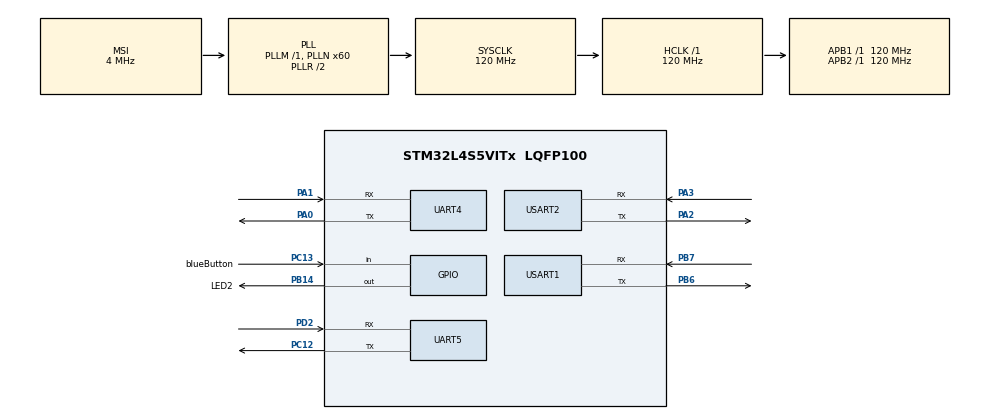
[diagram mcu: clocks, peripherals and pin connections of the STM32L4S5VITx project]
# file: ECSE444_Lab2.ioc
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ADC1.Channel-0\#ChannelRegularConversion=ADC_CHANNEL_VREFINT
ADC1.NbrOfConversionFlag=1
ADC1.OffsetNumber-0\#ChannelRegularConversion=ADC_OFFSET_NONE
ADC1.Rank-0\#ChannelRegularConversion=1
ADC1.SamplingTime-0\#ChannelRegularConversion=ADC_SAMPLETIME_2CYCLES_5
ADC1.master=1
Mcu.Family=STM32L4
Mcu.Name=STM32L4S5VITx
Mcu.Package=LQFP100
NVIC.PriorityGroup=NVIC_PRIORITYGROUP_4
PA0.Mode=Asynchronous
PA0.Signal=UART4_TX
PA1.Mode=Asynchronous
PA1.Signal=UART4_RX
PA2.Mode=Asynchronous
PA2.Signal=USART2_TX
PA3.Mode=Asynchronous
PA3.Signal=USART2_RX
PB14.GPIO_Label=LED2
PB14.Signal=GPIO_Output
PB6.Mode=Asynchronous
PB6.Signal=USART1_TX
PB7.Mode=Asynchronous
PB7.Signal=USART1_RX
PC12.Mode=Asynchronous
PC12.Signal=UART5_TX
PC13.GPIO_Label=blueButton
PC13.Signal=GPIO_Input
PD2.Mode=Asynchronous
PD2.Signal=UART5_RX
ProjectManager.HeapSize=0x200
ProjectManager.StackSize=0x400
ProjectManager.TargetToolchain=STM32CubeIDE
RCC.ADCFreq_Value=32000000
RCC.AHBFreq_Value=120000000
RCC.APB1Freq_Value=120000000
RCC.APB1TimFreq_Value=120000000
RCC.APB2Freq_Value=120000000
RCC.APB2TimFreq_Value=120000000
RCC.CortexFreq_Value=120000000
RCC.HCLKFreq_Value=120000000
RCC.HSE_VALUE=8000000
RCC.HSI48_VALUE=48000000
RCC.HSI_VALUE=16000000
RCC.LSE_VALUE=32768
RCC.MSI_VALUE=4000000
RCC.PLLN=60
RCC.PLLSAI1N=16
RCC.SYSCLKFreq_VALUE=120000000
RCC.SYSCLKSource=RCC_SYSCLKSOURCE_PLLCLK
RCC.USBFreq_Value=32000000
RCC.VCOOutputFreq_Value=240000000
USART1.VirtualMode-Asynchronous=VM_ASYNC
USART2.VirtualMode-Asynchronous=VM_ASYNC
VP_ADC1_TempSens_Input.Mode=IN-TempSens
VP_ADC1_Vref_Input.Mode=IN-Vrefint
board=B-L4S5I-IOT01A

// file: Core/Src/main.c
/* USER CODE BEGIN Header */
/**
  ******************************************************************************
  * @file           : main.c
  * @brief          : Main program body
  ******************************************************************************
  * @attention
  *
  * Copyright (c) 2024 STMicroelectronics.
  * All rights reserved.
  *
  * This software is licensed under terms that can be found in the LICENSE file
  * in the root directory of this software component.
  * If no LICENSE file comes with this software, it is provided AS-IS.
  *
  ******************************************************************************
  */
/* USER CODE END Header */
#include "main.h"

/* USER CODE BEGIN Includes */
#include <string.h>
#include <stdio.h>

/* USER CODE END Includes */

/* USER CODE BEGIN PD */

// Value of VREF+ during production calibration in volts
#define CAL_VREF (3.0)

// Memory address of Internal Voltage Reference (VREFINT) - 0x1FFF 75AA (STM32L4S5 datasheet, Section 3.19.2)
#define VREFINT_CAL_ADDR (uint16_t*)(0x1FFF75AA) // VREFINT calibration value at VREF+ = 3.0 V (STM32L4+ ref manual)

// Temperature sensor memory addresses - found in stm32l476je document, Section 3.15.1 PAGE 42
#define TS_CAL1_ADDR (uint16_t*)(0x1FFF75A8) // Temperature sensor first calibration value at VREF+ = 3.0 V @ 30 degrees
#define TS_CAL2_ADDR (uint16_t*)(0x1FFF75CA) // Temperature sensor second calibration value  at VREF+ = 3.0 V @ 110 degrees
#define TS_CAL1_TEMP (30.0) // TS_CAL1 measurement temperature
#define TS_CAL2_TEMP (110.0) // TS_CAL1 measurement temperature

/* USER CODE END PD */

 ADC_HandleTypeDef hadc1;

UART_HandleTypeDef huart4;
UART_HandleTypeDef huart5;
UART_HandleTypeDef huart1;
UART_HandleTypeDef huart2;

void SystemClock_Config(void);
static void MX_GPIO_Init(void);
static void MX_ADC1_Init(void);
static void MX_USART2_UART_Init(void);
static void MX_USART1_UART_Init(void);
static void MX_UART4_Init(void);
static void MX_UART5_Init(void);
/* USER CODE BEGIN PFP */
#ifdef __GNUC__
#define PUTCHAR_PROTOTYPE int __io_putchar(int ch)
#else
#define PUTCHAR_PROTOTYPE int fputc(int ch, FILE *f)
#endif

PUTCHAR_PROTOTYPE
{
  HAL_UART_Transmit(&huart1, (uint8_t *)&ch, 1, HAL_MAX_DELAY);
  return ch;
}
/* USER CODE END PFP */

/* USER CODE BEGIN 0 */

// Function to start, read, and return ADC conversion
uint16_t readADC(){
	uint16_t ADCdata; // Initialize variable to store ADC conversion data

	// Got functions from 'STM32L4/L4+ HAL and low-layer drivers user manual'
	HAL_ADC_Start(&hadc1); // Activate the ADC peripheral and start conversions
	HAL_ADC_PollForConversion(&hadc1, HAL_MAX_DELAY); // This causes the processor to hang until conversion is over
	ADCdata = HAL_ADC_GetValue(&hadc1); // Retrieve conversion results
	HAL_ADC_Stop(&hadc1); // Stop conversion and disable the ADC peripheral

	return ADCdata; // Returns converted data: 12-bit ADC so range is: 0 -> 2^12 = 4095 (FS Digital Value)
}

// Function that uses macro helper to get VREF from VREFINT ADC measurement
float calibVREFMacro(uint16_t VREFINTdata){
	// From page 102 in UM1884, converts VREFINT value to voltage based on calibration value stored in memory during production
	float VREF = __HAL_ADC_CALC_VREFANALOG_VOLTAGE(VREFINTdata, ADC_RESOLUTION_12B);
	return VREF;
}

// Function that uses macro helper to get TEMP from VREFINT ADC measurement
float calibTEMPMacro(uint16_t VREFINTdata, uint16_t ADCreading){
//_HAL_ADC_CALC_TEMPERATURE()
	float TEMP = __HAL_ADC_CALC_TEMPERATURE(VREFINTdata, ADCreading, ADC_RESOLUTION_12B);
	return TEMP;
}

// Function to reconfigure ADC to measure VREFINT channel
void configVREFINT(){
	ADC_ChannelConfTypeDef sConfig = {0}; // Need to declare sConfig to initialize the rest
	sConfig.Channel = ADC_CHANNEL_VREFINT;
	sConfig.Rank = ADC_REGULAR_RANK_1;
	sConfig.SamplingTime = ADC_SAMPLETIME_640CYCLES_5;
	sConfig.SingleDiff = ADC_SINGLE_ENDED;
	sConfig.OffsetNumber = ADC_OFFSET_NONE;
	sConfig.Offset = 0;
	if (HAL_ADC_ConfigChannel(&hadc1, &sConfig) != HAL_OK)
	{
	  Error_Handler();
	}
}

// Function to reconfigure ADC to measure TEMPSENSOR channel
void configTEMPSENSOR(){
	ADC_ChannelConfTypeDef sConfig = {0}; // Need to declare sConfig to initialize the rest
	sConfig.Channel = ADC_CHANNEL_TEMPSENSOR; // Changed to read TEMPSENSOR channel
	sConfig.Rank = ADC_REGULAR_RANK_1;
	sConfig.SamplingTime = ADC_SAMPLETIME_640CYCLES_5;
	sConfig.SingleDiff = ADC_SINGLE_ENDED;
	sConfig.OffsetNumber = ADC_OFFSET_NONE;
	sConfig.Offset = 0;
	if (HAL_ADC_ConfigChannel(&hadc1, &sConfig) != HAL_OK)
	{
	  Error_Handler();
	}
}

/* USER CODE END 0 */

int main(void)
{

  /* MCU Configuration--------------------------------------------------------*/

  /* Reset of all peripherals, Initializes the Flash interface and the Systick. */
  HAL_Init();

  /* Configure the system clock */
  SystemClock_Config();

  /* Initialize all configured peripherals */
  MX_GPIO_Init();
  MX_ADC1_Init();
  MX_USART2_UART_Init();
  MX_USART1_UART_Init();
  MX_UART4_Init();
  MX_UART5_Init();
  /* USER CODE BEGIN 2 */

  char buttonStatus = 0;

  uint16_t VREFINTdata = 0;
  uint16_t TEMPdata = 0;
  float VREF = 0; // VREF, defined as VREF+ in the texts, is the conversion voltage range for the ADC
  float VREFmacro = 0;
  float VREFINT_V = 0;
  float VREFINT_CAL_V = 0;

  float TEMPdata_adjusted = 0;
  float TEMP_C;
  float TEMP_Cmacro = 0;

  // VREFINT CALIBRATION
  uint16_t VREFINT_CAL = *VREFINT_CAL_ADDR; // VREFINT_CAL holds VREFINT calibration value

  uint16_t TS_CAL1 = *TS_CAL1_ADDR;
  uint16_t TS_CAL2 = *TS_CAL2_ADDR;

  // Using steps from PAGE 71 from UM1884 HAL User Manual as a guide
  // Optionally, perform an automatic ADC calibration to improve the conversion accuracy using function
  HAL_ADCEx_Calibration_Start(&hadc1, ADC_SINGLE_ENDED); // PAGE 113, UM1884, Calibration prerequisite: ADC must be disabled (execute this function before HAL_ADC_Start() or after HAL_ADC_Stop() ).

  // Getting VREF so that we can use temperature sensor
  configVREFINT(); // Configure ADC for VREFINT measurement
  VREFINTdata = readADC(); // VREFINT measurement in bits
  VREFmacro = calibVREFMacro(VREFINTdata); // Using macro helper on Page 102 from UM1884, in mV

  // For UART printing
  char buffer[100] = {0};
  int data;

  /* USER CODE END 2 */

  /* Infinite loop */
  while (1)
  {

    /* USER CODE BEGIN 3 */

	  /*---------------------------------STEP 5-------------------------------------*/

	  //uint8_t data[] = "HELLO WORLD \r\n";
	  // HAL_UART_Transmit (&huart1, data, sizeof (data), 10);

	  //Code to toggle LED2 output based on blue button state - TESTED, WORKS
	  //Get button state
	  buttonStatus = HAL_GPIO_ReadPin(blueButton_GPIO_Port, blueButton_Pin);

	  //toggle LED2 output based on state of the blue button - button is active low
	  if(buttonStatus == 1){
		  HAL_GPIO_WritePin(LED2_GPIO_Port, LED2_Pin, GPIO_PIN_SET);

		  // ADC - Internal Reference Voltage Measurement
		  configVREFINT(); // Configure ADC for VREFINT measurement
		  VREFINT_CAL_V = (((float)VREFINT_CAL)*3.0)/4095; // VREFINT CALIBRATION VALUE in volts, Full scale digital value = 4095, Page 692 of RM0432
		  VREFINTdata = readADC(); // VREFINT measurement in bits

		  // FOUND VREF IN TWO WAYS -> equation and macro helper
		  VREF = (float)CAL_VREF * ((float)VREFINT_CAL/ (float)VREFINTdata); // VREF using equation on PAGE 691 in RM0432
		  VREFmacro = calibVREFMacro(VREFINTdata); // Using macro helper on Page 102 from UM1884
		  VREFmacro = VREFmacro/1000;

		  VREFINT_V = VREF * ((float)VREFINTdata/4095); // VREFINT in volts - VREFINT is within range: MIN-1.182, TYP-1.212, MAX-1.232

		  data = sprintf(buffer, "VREFINT: %f V\r\n", VREFINT_V);
		  HAL_UART_Transmit (&huart1, buffer, data, 100);

		  //HAL_Delay(1000);

	  }
	  else{
		  HAL_GPIO_WritePin(LED2_GPIO_Port, LED2_Pin, GPIO_PIN_RESET);

		  // Getting VREF so that we can use temperature sensor
		  configVREFINT(); // Configure ADC for VREFINT measurement
		  VREFINTdata = readADC(); // VREFINT measurement in bits
		  VREFmacro = calibVREFMacro(VREFINTdata); // Using macro helper on Page 102 from UM1884, in mV

		  configTEMPSENSOR(); // reconfiguring works
		  TEMPdata = readADC(); // TEMPSENSOR measurement in bits

		  // Got temperature in two ways: macro helper and equation
		  TEMP_Cmacro = calibTEMPMacro(VREFmacro, TEMPdata); // Calculating temperature using macro - PAGE 103, UM1884 - THIS WORKS

		  TEMPdata_adjusted = (float)TEMPdata * ((float)VREFINT_CAL/ (float)VREFINTdata);

		  // RM0432 says program with appropriate sampling time - need to check this

		  // Conversion to celcius is done with equation on PAGE 689 on RM0432
		  // Calibration values are at 3.15.1 on PAGE 41 on stm32l476je functional overview document

		  float gradient = ((float)TS_CAL2_TEMP - (float)TS_CAL1_TEMP)/((float)TS_CAL2 - (float)TS_CAL1);
		  float gain = (TEMPdata_adjusted - (float)TS_CAL1);

		  // Equation (PAGE 680 on RM0432) works, value matches up with the value from macro helper
		  TEMP_C = (uint16_t)(gradient*gain + 30.0);

		  data = sprintf(buffer, "TEMP: %f degrees celcius\r\n", TEMP_C);
		  HAL_UART_Transmit (&huart1, buffer, data, 100);

		  //HAL_Delay(1000);

	  }

	  /*---------------------------------STEP 2-------------------------------------*/
	  /*
	  // ADC - Internal Reference Voltage Measurement
	  configVREFINT(); // Configure ADC for VREFINT measurement
	  VREFINT_CAL_V = (((float)VREFINT_CAL)*3.0)/4095; // VREFINT CALIBRATION VALUE in volts, Full scale digital value = 4095, Page 692 of RM0432
	  VREFINTdata = readADC(); // VREFINT measurement in bits

	  // FOUND VREF IN TWO WAYS -> equation and macro helper
	  VREF = (float)CAL_VREF * ((float)VREFINT_CAL/ (float)VREFINTdata); // VREF using equation on PAGE 691 in RM0432
	  VREF2 = calibVREFMacro(VREFINTdata); // Using macro helper on Page 102 from UM1884

	  VREFINT_V = VREF * ((float)VREFINTdata/4095); // VREFINT in volts - VREFINT is within range: MIN-1.182, TYP-1.212, MAX-1.232
	  */
	  /*---------------------------------STEP 3-------------------------------------*/

	  // Section 21.4.32, PAGE 688 RM0432
	  // Temperature sensor output voltage changes linearly with temperature
	  // Offset of the line varies from chip to chip so needs to be calibrated based on saved calibration values in memory
	  // This needs to be done in cases where absolute temperature is needed

	  /*
	  configTEMPSENSOR(); // reconfiguring works
	  TEMPdata = readADC(); // TEMPSENSOR measurement in bits

	  // Got temperature in two ways: macro helper and equation

	  VREF_mV = VREF * 1000;

	  TEMP_C2 = calibTEMPMacro(VREF_mV, TEMPdata); // Calculating temperature using macro - PAGE 103, UM1884 - THIS WORKS

	  TEMPdata_C = (float)TEMPdata * ((float)VREFINT_CAL/ (float)VREFINTdata);

	  // RM0432 says program with appropriate sampling time - need to check this

	  // Conversion to celcius is done with equation on PAGE 689 on RM0432
	  // Calibration values are at 3.15.1 on PAGE 41 on stm32l476je functional overview document

	  // Equation doesn't give correct temperature - increased offset to give the right value (not sure if we can do this though lol)

	  TEMP_C = (uint16_t)(((((float)TS_CAL2_TEMP - (float)TS_CAL1_TEMP)/((float)TS_CAL2 - (float)TS_CAL1)) * (TEMPdata - (float)TS_CAL1)) + 30.0 + 17);
	  */
  }
  /* USER CODE END 3 */
}

void SystemClock_Config(void)
{
  RCC_OscInitTypeDef RCC_OscInitStruct = {0};
  RCC_ClkInitTypeDef RCC_ClkInitStruct = {0};

  /** Configure the main internal regulator output voltage
  */
  if (HAL_PWREx_ControlVoltageScaling(PWR_REGULATOR_VOLTAGE_SCALE1_BOOST) != HAL_OK)
  {
    Error_Handler();
  }

  /** Initializes the RCC Oscillators according to the specified parameters
  * in the RCC_OscInitTypeDef structure.
  */
  RCC_OscInitStruct.OscillatorType = RCC_OSCILLATORTYPE_MSI;
  RCC_OscInitStruct.MSIState = RCC_MSI_ON;
  RCC_OscInitStruct.MSICalibrationValue = 0;
  RCC_OscInitStruct.MSIClockRange = RCC_MSIRANGE_6;
  RCC_OscInitStruct.PLL.PLLState = RCC_PLL_ON;
  RCC_OscInitStruct.PLL.PLLSource = RCC_PLLSOURCE_MSI;
  RCC_OscInitStruct.PLL.PLLM = 1;
  RCC_OscInitStruct.PLL.PLLN = 60;
  RCC_OscInitStruct.PLL.PLLP = RCC_PLLP_DIV2;
  RCC_OscInitStruct.PLL.PLLQ = RCC_PLLQ_DIV2;
  RCC_OscInitStruct.PLL.PLLR = RCC_PLLR_DIV2;
  if (HAL_RCC_OscConfig(&RCC_OscInitStruct) != HAL_OK)
  {
    Error_Handler();
  }

  /** Initializes the CPU, AHB and APB buses clocks
  */
  RCC_ClkInitStruct.ClockType = RCC_CLOCKTYPE_HCLK|RCC_CLOCKTYPE_SYSCLK
                              |RCC_CLOCKTYPE_PCLK1|RCC_CLOCKTYPE_PCLK2;
  RCC_ClkInitStruct.SYSCLKSource = RCC_SYSCLKSOURCE_PLLCLK;
  RCC_ClkInitStruct.AHBCLKDivider = RCC_SYSCLK_DIV1;
  RCC_ClkInitStruct.APB1CLKDivider = RCC_HCLK_DIV1;
  RCC_ClkInitStruct.APB2CLKDivider = RCC_HCLK_DIV1;

  if (HAL_RCC_ClockConfig(&RCC_ClkInitStruct, FLASH_LATENCY_5) != HAL_OK)
  {
    Error_Handler();
  }
}

static void MX_ADC1_Init(void)
{

  ADC_ChannelConfTypeDef sConfig = {0};

  /** Common config
  */
  hadc1.Instance = ADC1;
  hadc1.Init.ClockPrescaler = ADC_CLOCK_ASYNC_DIV1;
  hadc1.Init.Resolution = ADC_RESOLUTION_12B;
  hadc1.Init.DataAlign = ADC_DATAALIGN_RIGHT;
  hadc1.Init.ScanConvMode = ADC_SCAN_DISABLE;
  hadc1.Init.EOCSelection = ADC_EOC_SINGLE_CONV;
  hadc1.Init.LowPowerAutoWait = DISABLE;
  hadc1.Init.ContinuousConvMode = DISABLE;
  hadc1.Init.NbrOfConversion = 1;
  hadc1.Init.DiscontinuousConvMode = DISABLE;
  hadc1.Init.ExternalTrigConv = ADC_SOFTWARE_START;
  hadc1.Init.ExternalTrigConvEdge = ADC_EXTERNALTRIGCONVEDGE_NONE;
  hadc1.Init.DMAContinuousRequests = DISABLE;
  hadc1.Init.Overrun = ADC_OVR_DATA_PRESERVED;
  hadc1.Init.OversamplingMode = DISABLE;
  if (HAL_ADC_Init(&hadc1) != HAL_OK)
  {
    Error_Handler();
  }

  /** Configure Regular Channel
  */
  sConfig.Channel = ADC_CHANNEL_VREFINT;
  sConfig.Rank = ADC_REGULAR_RANK_1;
  sConfig.SamplingTime = ADC_SAMPLETIME_2CYCLES_5;
  sConfig.SingleDiff = ADC_SINGLE_ENDED;
  sConfig.OffsetNumber = ADC_OFFSET_NONE;
  sConfig.Offset = 0;
  if (HAL_ADC_ConfigChannel(&hadc1, &sConfig) != HAL_OK)
  {
    Error_Handler();
  }

}

static void MX_UART4_Init(void)
{

  huart4.Instance = UART4;
  huart4.Init.BaudRate = 115200;
  huart4.Init.WordLength = UART_WORDLENGTH_8B;
  huart4.Init.StopBits = UART_STOPBITS_1;
  huart4.Init.Parity = UART_PARITY_NONE;
  huart4.Init.Mode = UART_MODE_TX_RX;
  huart4.Init.HwFlowCtl = UART_HWCONTROL_NONE;
  huart4.Init.OverSampling = UART_OVERSAMPLING_16;
  huart4.Init.OneBitSampling = UART_ONE_BIT_SAMPLE_DISABLE;
  huart4.Init.ClockPrescaler = UART_PRESCALER_DIV1;
  huart4.AdvancedInit.AdvFeatureInit = UART_ADVFEATURE_NO_INIT;
  if (HAL_UART_Init(&huart4) != HAL_OK)
  {
    Error_Handler();
  }
  if (HAL_UARTEx_SetTxFifoThreshold(&huart4, UART_TXFIFO_THRESHOLD_1_8) != HAL_OK)
  {
    Error_Handler();
  }
  if (HAL_UARTEx_SetRxFifoThreshold(&huart4, UART_RXFIFO_THRESHOLD_1_8) != HAL_OK)
  {
    Error_Handler();
  }
  if (HAL_UARTEx_DisableFifoMode(&huart4) != HAL_OK)
  {
    Error_Handler();
  }

}

static void MX_UART5_Init(void)
{

  huart5.Instance = UART5;
  huart5.Init.BaudRate = 115200;
  huart5.Init.WordLength = UART_WORDLENGTH_8B;
  huart5.Init.StopBits = UART_STOPBITS_1;
  huart5.Init.Parity = UART_PARITY_NONE;
  huart5.Init.Mode = UART_MODE_TX_RX;
  huart5.Init.HwFlowCtl = UART_HWCONTROL_NONE;
  huart5.Init.OverSampling = UART_OVERSAMPLING_16;
  huart5.Init.OneBitSampling = UART_ONE_BIT_SAMPLE_DISABLE;
  huart5.Init.ClockPrescaler = UART_PRESCALER_DIV1;
  huart5.AdvancedInit.AdvFeatureInit = UART_ADVFEATURE_NO_INIT;
  if (HAL_UART_Init(&huart5) != HAL_OK)
  {
    Error_Handler();
  }
  if (HAL_UARTEx_SetTxFifoThreshold(&huart5, UART_TXFIFO_THRESHOLD_1_8) != HAL_OK)
  {
    Error_Handler();
  }
  if (HAL_UARTEx_SetRxFifoThreshold(&huart5, UART_RXFIFO_THRESHOLD_1_8) != HAL_OK)
  {
    Error_Handler();
  }
  if (HAL_UARTEx_DisableFifoMode(&huart5) != HAL_OK)
  {
    Error_Handler();
  }

}

static void MX_USART1_UART_Init(void)
{

  huart1.Instance = USART1;
  huart1.Init.BaudRate = 115200;
  huart1.Init.WordLength = UART_WORDLENGTH_8B;
  huart1.Init.StopBits = UART_STOPBITS_1;
  huart1.Init.Parity = UART_PARITY_NONE;
  huart1.Init.Mode = UART_MODE_TX_RX;
  huart1.Init.HwFlowCtl = UART_HWCONTROL_NONE;
  huart1.Init.OverSampling = UART_OVERSAMPLING_16;
  huart1.Init.OneBitSampling = UART_ONE_BIT_SAMPLE_DISABLE;
  huart1.Init.ClockPrescaler = UART_PRESCALER_DIV1;
  huart1.AdvancedInit.AdvFeatureInit = UART_ADVFEATURE_NO_INIT;
  if (HAL_UART_Init(&huart1) != HAL_OK)
  {
    Error_Handler();
  }
  if (HAL_UARTEx_SetTxFifoThreshold(&huart1, UART_TXFIFO_THRESHOLD_1_8) != HAL_OK)
  {
    Error_Handler();
  }
  if (HAL_UARTEx_SetRxFifoThreshold(&huart1, UART_RXFIFO_THRESHOLD_1_8) != HAL_OK)
  {
    Error_Handler();
  }
  if (HAL_UARTEx_DisableFifoMode(&huart1) != HAL_OK)
  {
    Error_Handler();
  }

}

static void MX_USART2_UART_Init(void)
{

  huart2.Instance = USART2;
  huart2.Init.BaudRate = 115200;
  huart2.Init.WordLength = UART_WORDLENGTH_8B;
  huart2.Init.StopBits = UART_STOPBITS_1;
  huart2.Init.Parity = UART_PARITY_NONE;
  huart2.Init.Mode = UART_MODE_TX_RX;
  huart2.Init.HwFlowCtl = UART_HWCONTROL_NONE;
  huart2.Init.OverSampling = UART_OVERSAMPLING_16;
  huart2.Init.OneBitSampling = UART_ONE_BIT_SAMPLE_DISABLE;
  huart2.Init.ClockPrescaler = UART_PRESCALER_DIV1;
  huart2.AdvancedInit.AdvFeatureInit = UART_ADVFEATURE_NO_INIT;
  if (HAL_UART_Init(&huart2) != HAL_OK)
  {
    Error_Handler();
  }
  if (HAL_UARTEx_SetTxFifoThreshold(&huart2, UART_TXFIFO_THRESHOLD_1_8) != HAL_OK)
  {
    Error_Handler();
  }
  if (HAL_UARTEx_SetRxFifoThreshold(&huart2, UART_RXFIFO_THRESHOLD_1_8) != HAL_OK)
  {
    Error_Handler();
  }
  if (HAL_UARTEx_DisableFifoMode(&huart2) != HAL_OK)
  {
    Error_Handler();
  }

}

static void MX_GPIO_Init(void)
{
  GPIO_InitTypeDef GPIO_InitStruct = {0};

  /* GPIO Ports Clock Enable */
  __HAL_RCC_GPIOC_CLK_ENABLE();
  __HAL_RCC_GPIOA_CLK_ENABLE();
  __HAL_RCC_GPIOB_CLK_ENABLE();
  __HAL_RCC_GPIOD_CLK_ENABLE();

  /*Configure GPIO pin Output Level */
  HAL_GPIO_WritePin(LED2_GPIO_Port, LED2_Pin, GPIO_PIN_RESET);

  /*Configure GPIO pin : blueButton_Pin */
  GPIO_InitStruct.Pin = blueButton_Pin;
  GPIO_InitStruct.Mode = GPIO_MODE_INPUT;
  GPIO_InitStruct.Pull = GPIO_NOPULL;
  HAL_GPIO_Init(blueButton_GPIO_Port, &GPIO_InitStruct);

  /*Configure GPIO pin : LED2_Pin */
  GPIO_InitStruct.Pin = LED2_Pin;
  GPIO_InitStruct.Mode = GPIO_MODE_OUTPUT_PP;
  GPIO_InitStruct.Pull = GPIO_NOPULL;
  GPIO_InitStruct.Speed = GPIO_SPEED_FREQ_LOW;
  HAL_GPIO_Init(LED2_GPIO_Port, &GPIO_InitStruct);

}

void Error_Handler(void)
{
  __disable_irq();
  while (1)
  {
  }
}
